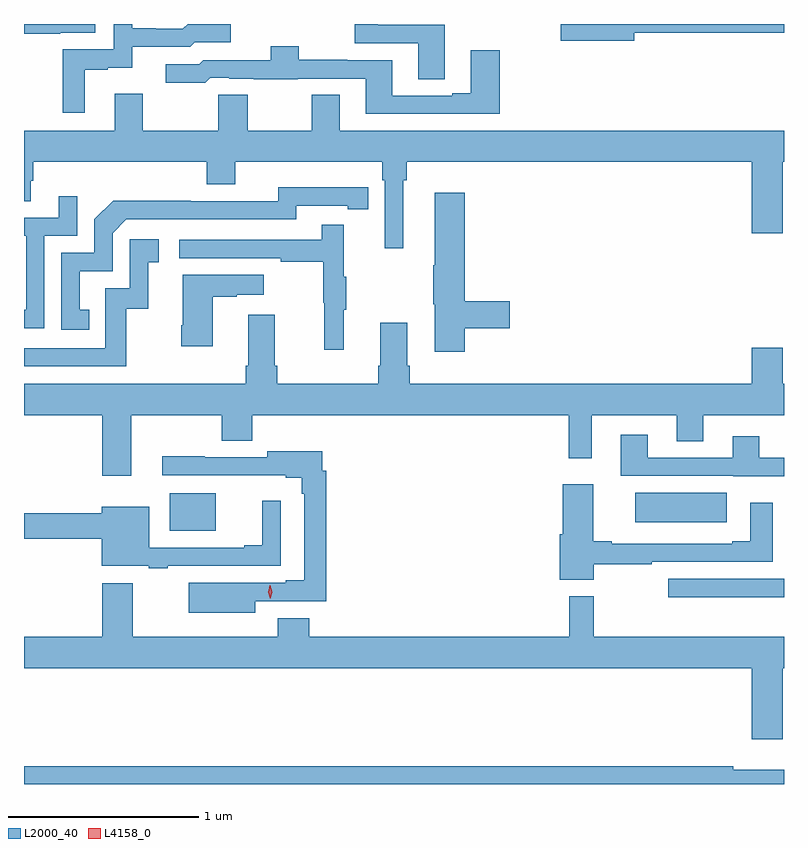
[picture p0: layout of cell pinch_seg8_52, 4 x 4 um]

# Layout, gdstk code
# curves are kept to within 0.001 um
import gdstk
lib = gdstk.Library(unit=1e-6, precision=1e-09)
def R(c, l, rs):  # rectangles x0, y0, x1, y1
    for r in rs: c.add(gdstk.rectangle(r[:2], r[2:], *l))
def P(c, l, *ps):  # polygons
    for p in ps: c.add(gdstk.Polygon(p, *l))
L2000_40 = (2000, 40)
L4158_0 = (4158, 0)

pinch_seg8_52 = lib.new_cell('pinch_seg8_52')
R(pinch_seg8_52, L2000_40, [(869.237,1143.863,869.479,1144.06), (871.689,1143.908,872.17,1144.063)])
P(pinch_seg8_52, L2000_40, [(871.684,1146.484),(872.471,1146.484),(872.471,1146.53),(871.296,1146.53),(871.296,1146.442),(871.684,1146.442)],
  [(870.685,1146.525),(870.334,1146.525),(870.334,1146.53),(870.212,1146.53),(870.212,1146.429),(870.545,1146.429),(870.545,1146.238),(870.685,1146.238)],
  [(868.792,1146.288),(868.913,1146.288),(868.913,1146.299),(869.041,1146.299),(869.041,1146.411),(869.346,1146.411),(869.37,1146.435),(869.558,1146.435),(869.558,1146.53),(869.333,1146.53),(869.307,1146.504),(869.165,1146.504),(869.165,1146.507),(869.04,1146.507),(869.04,1146.53),(868.944,1146.53),(868.944,1146.396),(868.675,1146.396),(868.675,1146.063),(868.792,1146.063)],
  [(868.662,1146.485),(868.846,1146.485),(868.846,1146.53),(868.471,1146.53),(868.471,1146.479),(868.662,1146.479)],
  [(870.974,1146.391),(870.821,1146.391),(870.821,1146.166),(870.725,1146.166),(870.725,1146.153),(870.409,1146.153),(870.409,1146.339),(870.173,1146.339),(870.173,1146.342),(869.917,1146.342),(869.917,1146.412),(869.77,1146.412),(869.77,1146.339),(869.415,1146.339),(869.394,1146.318),(869.217,1146.318),(869.217,1146.22),(869.425,1146.22),(869.451,1146.246),(869.551,1146.246),(869.551,1146.243),(869.681,1146.243),(869.681,1146.238),(869.913,1146.238),(869.913,1146.243),(870.269,1146.243),(870.269,1146.057),(870.974,1146.057)],
  [(868.471,1145.596),(868.507,1145.596),(868.507,1145.706),(868.52,1145.706),(868.52,1145.804),(869.432,1145.804),(869.432,1145.687),(869.584,1145.687),(869.584,1145.804),(870.356,1145.804),(870.356,1145.708),(870.369,1145.708),(870.369,1145.349),(870.466,1145.349),(870.466,1145.708),(870.485,1145.708),(870.485,1145.804),(872.3,1145.804),(872.3,1145.43),(872.464,1145.43),(872.464,1145.804),(872.471,1145.804),(872.471,1145.968),(870.133,1145.968),(870.133,1146.158),(869.986,1146.158),(869.986,1145.968),(869.649,1145.968),(869.649,1146.158),(869.494,1146.158),(869.494,1145.968),(869.097,1145.968),(869.097,1146.163),(868.949,1146.163),(868.949,1145.968),(868.471,1145.968)],
  [(868.814,1145.025),(868.765,1145.025),(868.765,1145.229),(868.938,1145.229),(868.938,1145.43),(869.01,1145.502),(869.904,1145.502),(869.904,1145.574),(870.176,1145.574),(870.176,1145.554),(870.284,1145.554),(870.284,1145.67),(869.808,1145.671),(869.808,1145.598),(869.348,1145.598),(869.348,1145.6),(868.94,1145.6),(868.842,1145.502),(868.842,1145.325),(868.668,1145.325),(868.668,1144.92),(868.814,1144.92)],
  [(870.791,1144.93),(871.027,1144.93),(871.027,1145.072),(870.791,1145.072),(870.791,1145.641),(870.632,1145.641),(870.632,1145.261),(870.625,1145.261),(870.625,1145.055),(870.632,1145.055),(870.632,1144.806),(870.791,1144.806)],
  [(868.578,1145.415),(868.752,1145.415),(868.752,1145.623),(868.655,1145.623),(868.655,1145.511),(868.471,1145.511),(868.471,1145.415),(868.482,1145.415),(868.482,1145.026),(868.471,1145.026),(868.471,1144.929),(868.578,1144.929)],
  [(870.155,1145.027),(870.166,1145.027),(870.166,1145.201),(870.155,1145.201),(870.155,1145.473),(870.037,1145.473),(870.037,1145.394),(869.289,1145.394),(869.289,1145.298),(869.821,1145.298),(869.821,1145.278),(870.045,1145.278),(870.045,1145.064),(870.052,1145.064),(870.052,1144.815),(870.155,1144.815)],
  [(869.008,1145.031),(869.126,1145.031),(869.126,1145.277),(869.179,1145.277),(869.179,1145.398),(869.028,1145.398),(869.028,1145.139),(868.899,1145.139),(868.899,1144.824),(868.471,1144.824),(868.471,1144.728),(869.008,1144.728)],
  [(869.464,1145.095),(869.591,1145.095),(869.591,1145.105),(869.734,1145.105),(869.734,1145.209),(869.306,1145.209),(869.306,1144.945),(869.299,1144.945),(869.299,1144.833),(869.464,1144.833)],
  [(871.338,1144.245),(871.459,1144.245),(871.459,1144.472),(871.907,1144.472),(871.907,1144.333),(872.047,1144.333),(872.047,1144.472),(872.471,1144.472),(872.471,1144.636),(872.464,1144.636),(872.464,1144.825),(872.3,1144.825),(872.3,1144.636),(870.5,1144.636),(870.5,1144.732),(870.487,1144.732),(870.487,1144.957),(870.347,1144.957),(870.347,1144.732),(870.335,1144.732),(870.335,1144.636),(869.804,1144.636),(869.804,1144.732),(869.791,1144.732),(869.791,1144.999),(869.651,1144.999),(869.651,1144.732),(869.639,1144.732),(869.639,1144.636),(868.471,1144.636),(868.471,1144.472),(868.883,1144.472),(868.883,1144.152),(869.035,1144.152),(869.035,1144.472),(869.512,1144.472),(869.512,1144.336),(869.672,1144.336),(869.672,1144.472),(871.338,1144.472)],
  [(872.471,1144.248),(872.341,1144.248),(872.341,1144.36),(872.201,1144.36),(872.201,1144.248),(871.753,1144.248),(871.753,1144.369),(871.613,1144.369),(871.613,1144.152),(872.205,1144.152),(872.205,1144.151),(872.471,1144.151)],
  [(869.689,1143.492),(870.062,1143.492),(870.062,1144.178),(870.042,1144.178),(870.042,1144.282),(869.75,1144.282),(869.75,1144.251),(869.423,1144.251),(869.423,1144.254),(869.199,1144.254),(869.199,1144.155),(869.575,1144.155),(869.575,1144.154),(869.849,1144.154),(869.849,1144.142),(869.934,1144.142),(869.934,1144.058),(869.946,1144.058),(869.946,1143.602),(869.849,1143.602),(869.849,1143.588),(869.585,1143.588),(869.585,1143.589),(869.337,1143.589),(869.337,1143.431),(869.689,1143.431)],
  [(871.47,1143.687),(871.775,1143.687),(871.775,1143.699),(872.413,1143.699),(872.413,1144.009),(872.294,1144.009),(872.294,1143.808),(872.198,1143.808),(872.198,1143.795),(871.564,1143.795),(871.564,1143.808),(871.468,1143.808),(871.468,1144.108),(871.307,1144.108),(871.307,1143.845),(871.292,1143.845),(871.292,1143.604),(871.47,1143.604)],
  [(869.227,1143.678),(869.72,1143.678),(869.72,1143.679),(869.822,1143.679),(869.822,1143.781),(869.823,1143.781),(869.823,1144.021),(869.725,1144.021),(869.725,1143.787),(869.63,1143.787),(869.63,1143.774),(869.131,1143.774),(869.131,1143.988),(868.88,1143.988),(868.88,1143.956),(868.471,1143.956),(868.471,1143.82),(868.88,1143.82),(868.88,1143.678),(869.127,1143.678),(869.127,1143.666),(869.227,1143.666)],
  [(872.399,1143.513),(872.471,1143.513),(872.471,1143.609),(871.863,1143.609),(871.863,1143.512),(872.399,1143.512)],
  [(872.464,1143.14),(872.471,1143.14),(872.471,1143.304),(871.47,1143.304),(871.47,1143.519),(871.34,1143.519),(871.34,1143.304),(869.972,1143.304),(869.972,1143.403),(869.807,1143.403),(869.807,1143.304),(869.043,1143.304),(869.043,1143.586),(868.883,1143.586),(868.883,1143.304),(868.471,1143.304),(868.471,1143.14),(872.3,1143.14),(872.3,1142.766),(872.464,1142.766)],
  [(872.471,1142.605),(872.204,1142.605),(872.204,1142.624),(868.471,1142.624),(868.471,1142.53),(872.471,1142.53)])
P(pinch_seg8_52, L4158_0, [(869.768,1143.504),(869.768,1143.504),(869.757,1143.54),(869.765,1143.576),(869.766,1143.576),(869.766,1143.576),(869.777,1143.54),(869.768,1143.504)])

lib.write_gds('pinch_seg8_52.gds')
